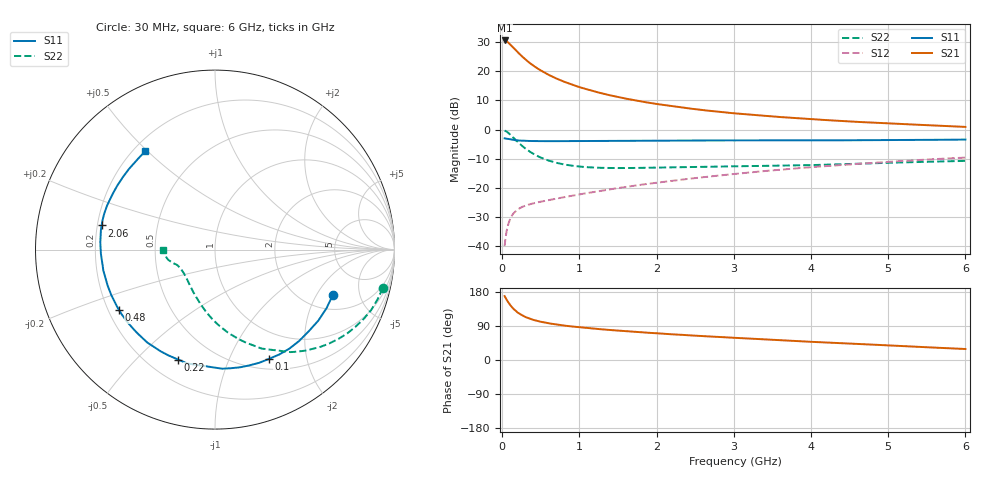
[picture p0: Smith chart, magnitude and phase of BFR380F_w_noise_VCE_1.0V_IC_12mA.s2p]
! Infineon Technologies  Discrete & RF Semiconductors
! BFR380F
! VCE =  1.0 V,  IC =  12 mA
! Common Emitter S-Parameters:  Nov 2015
# GHz  S  MA  R  50
!  f  S11  S21  S12  S22
! GHz  MAG  ANG  MAG  ANG  MAG  ANG  MAG  ANG
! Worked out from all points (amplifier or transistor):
!   206 points, 30 MHz to 6 GHz, reference 50 ohm
!   highest |S21| = 30.7 dB at 30 MHz (marker M1)
!   |S21| within 3 dB of that: start of sweep to 162.4 MHz
!   unconditionally stable (mu >= 1): 1.509 GHz to end of sweep
!   at 200 MHz: K = 0.27, MSG = 27.1 dB, |S12| = -27.5 dB
!   at 1.56 GHz: K = 1.01, MAG = 14.9 dB, |S12| = -19.9 dB
!   at 6 GHz: K = 1.01, MAG = 4.8 dB, |S12| = -9.7 dB
!   lowest NFmin = 0.90 dB at 900 MHz
!   S11 on the Smith chart (normalised r, x): 30 MHz: 2.78, -2.78; 100 MHz: 0.62, -1.41; 220 MHz: 0.32, -0.67; 480 MHz: 0.24, -0.27; 2.06 GHz: 0.22, +0.10; 6 GHz: 0.25, +0.49
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0.03  0.7034 -21.0  34.18 168.6  0.0098 81.3  0.9596 -12.9
0.05  0.6985 -34.5  33.4 160.9  0.0161 74.5  0.9327 -21.2
0.07  0.692 -47.4  31.93 154.3  0.0215 69.8  0.8924 -28.9
0.1  0.679 -63.9  29.41 145.7  0.0284 62.9  0.8246 -39.3
0.12  0.6727 -73.7  27.66 140.5  0.0322 59.1  0.7771 -45.4
0.15  0.6647 -86.6  25.18 133.8  0.0366 54.5  0.7095 -53.6
0.2  0.653 -103.6  21.41 125.0  0.0422 49.2  0.6101 -64.7
0.22  0.6461 -108.6  20.2 122.7  0.0437 47.9  0.577 -68.0
0.26  0.6426 -118.1  17.97 117.7  0.0467 45.6  0.5184 -74.9
0.32  0.6373 -129.2  15.3 111.9  0.0499 43.6  0.4494 -83.4
0.4  0.6336 -140.0  12.64 106.0  0.0534 42.7  0.3834 -92.8
0.48  0.6317 -147.7  10.77 101.8  0.0565 42.9  0.3378 -100.4
0.6  0.631 -156.3  8.748 96.8  0.0609 44.1  0.2919 -109.9
0.7  0.6309 -161.5  7.563 93.6  0.0645 45.5  0.2673 -116.6
1.04  0.633 -173.5  5.174 85.5  0.078 50.4  0.2277 -133.0
1.42  0.6385 177.9  3.821 78.8  0.0945 54.6  0.2174 -144.3
2.02  0.6457 168.5  2.729 70.3  0.1226 58.3  0.2208 -153.2
2.06  0.646 168.0  2.682 69.7  0.1245 58.4  0.2213 -153.5
3.1  0.6489 156.4  1.857 57.6  0.1766 59.9  0.2335 -159.5
4.1  0.6508 145.8  1.48 47.1  0.2297 58.1  0.2459 -162.3
5.1  0.6576 135.7  1.258 37.6  0.2827 54.9  0.2698 -168.9
6  0.6719 125.3  1.109 29.0  0.3287 50.4  0.2884 -179.6
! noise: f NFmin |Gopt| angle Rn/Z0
0.45  0.92  0.1  136  0.09
0.9  0.9  0.19  145  0.08
1.8  1.16  0.33  171  0.07
1.9  1.24  0.34  172  0.07
2.4  1.37  0.37  -175  0.08
3.5  1.99  0.48  -158  0.11
